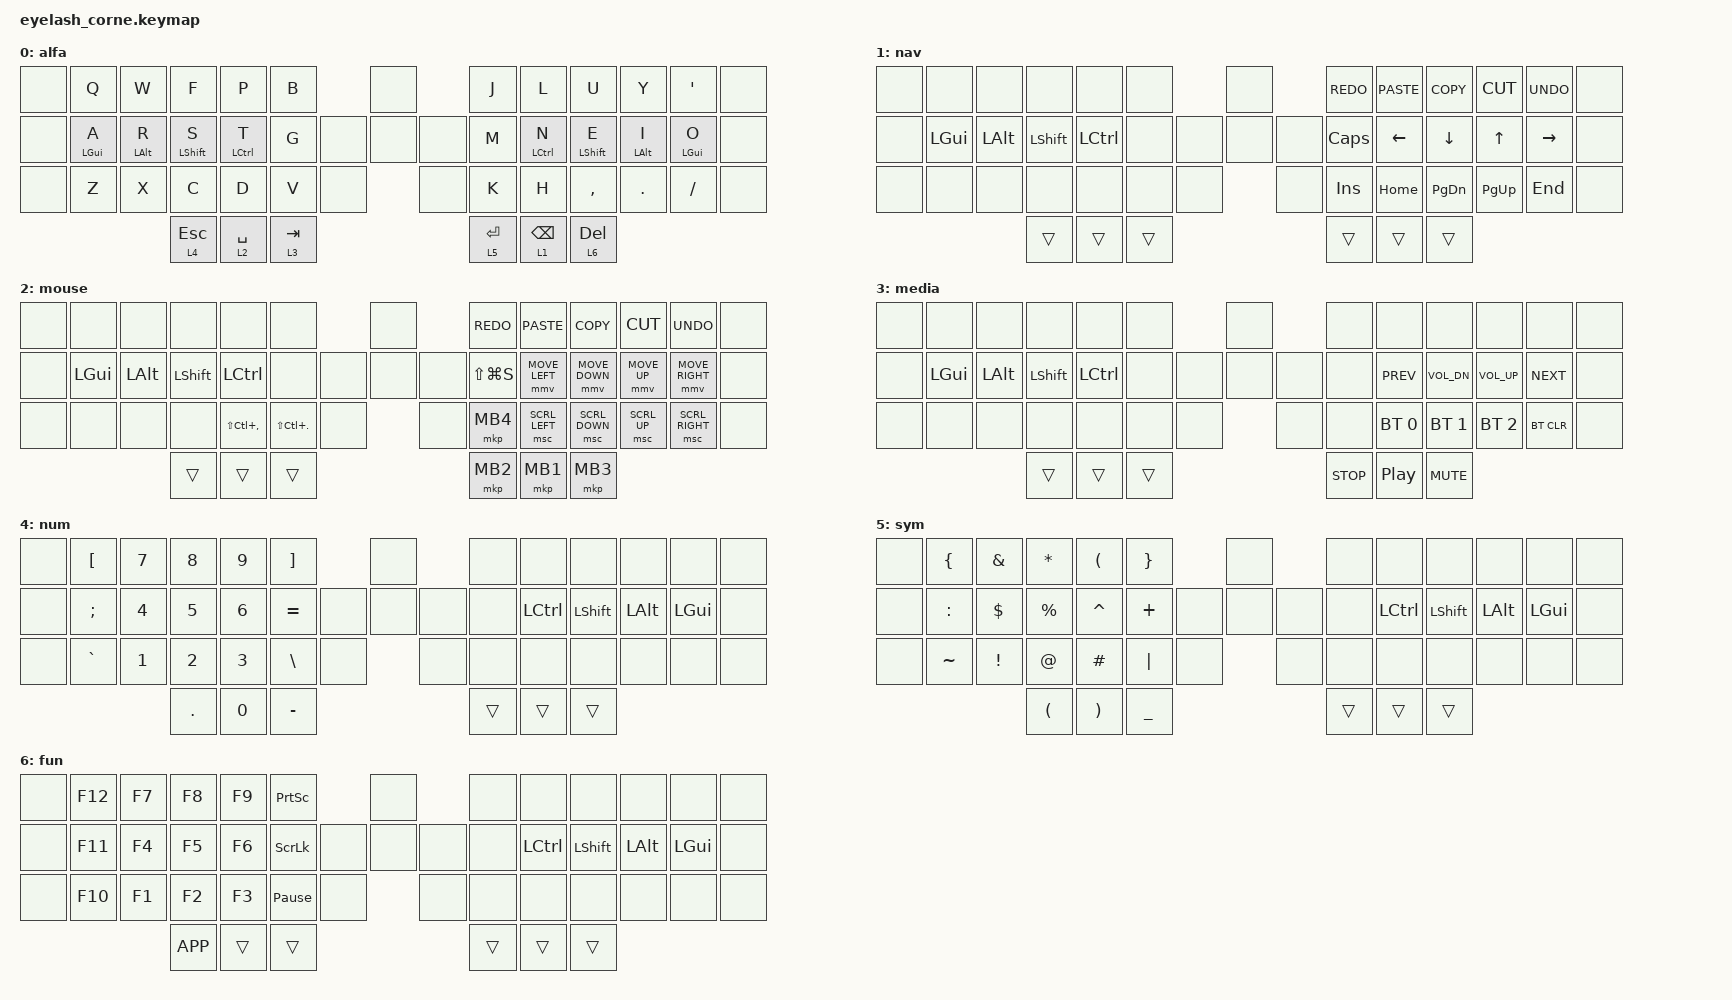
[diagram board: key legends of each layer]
/*
 * Copyright (c) 2020 The ZMK Contributors
 *
 * SPDX-License-Identifier: MIT
 */
#include <behaviors.dtsi>
#include <dt-bindings/zmk/bt.h>
#include <dt-bindings/zmk/keys.h>
#include <input/processors.dtsi>
#include <zephyr/dt-bindings/input/input-event-codes.h>
#include <dt-bindings/zmk/outputs.h>
#include <dt-bindings/zmk/pointing.h>


// mouse settings
#define ZMK_POINTING_DEFAULT_MOVE_VAL 600  // default: 600
#define ZMK_POINTING_DEFAULT_SCRL_VAL 10    // default: 10
#include <dt-bindings/zmk/pointing.h>

&mmv_input_listener { input-processors = <&zip_xy_scaler 2 1>; };

&msc_input_listener { input-processors = <&zip_scroll_scaler 2 1>; };

&msc {
    acceleration-exponent = <1>;      // 0
    time-to-max-speed-ms = <100>;       // 300
    delay-ms = <0>;                   // 0
};

&mmv {
    time-to-max-speed-ms = <500>;
    acceleration-exponent = <1>;
    trigger-period-ms = <16>;
};

&soft_off { hold-time-ms = <2000>; };

/ {
    behaviors {
        hm: homerow_mods {
            compatible = "zmk,behavior-hold-tap";
            #binding-cells = <2>;
            tapping-term-ms = <200>;
            quick-tap-ms = <0>;
            flavor = "tap-preferred";
            bindings = <&kp>, <&kp>;
        };
    };

    keymap {
        compatible = "zmk,keymap";

        // Alfa Layer - Colemak-DH with Home Row Mods
        alfa {
            display-name = "alfa";
            bindings = <
&none  &kp Q        &kp W        &kp F         &kp P            &kp B                   &none           &kp J       &kp L             &kp U         &kp Y        &kp SQT       &none
&none  &hm LGUI A   &hm LALT R   &hm LSHIFT S  &hm LCTRL T      &kp G            &none  &none  &none    &kp M       &hm LCTRL N       &hm LSHIFT E  &hm LALT I   &hm LGUI O    &none
&none  &kp Z        &kp X        &kp C         &kp D            &kp V      &none        &none           &kp K       &kp H             &kp COMMA     &kp DOT      &kp FSLH      &none
                                 &lt 4 ESC     &lt 2 SPACE      &lt 3 TAB                               &lt 5 RET   &lt 1 BSPC       &lt 6 DEL
            >;
        };

        // Navigation Layer
        nav {
            display-name = "nav";
            bindings = <
&none  &none      &none      &none        &none         &none                 &none         &kp K_REDO    &kp K_PASTE   &kp K_COPY    &kp K_CUT    &kp K_UNDO    &none
&none  &kp LGUI   &kp LALT   &kp LSHFT    &kp LCTRL     &none          &none  &none  &none  &kp CAPS      &kp LEFT      &kp DOWN      &kp UP       &kp RIGHT     &none
&none  &none      &none      &none        &none         &none    &none        &none         &kp INS       &kp HOME      &kp PG_DN     &kp PG_UP    &kp END       &none
                            &trans        &trans        &trans                              &trans        &trans        &trans
            >;
        };

        // Mouse Layer
        mouse {
            display-name = "mouse";
            bindings = <
&none  &none        &none        &none      &none               &none                         &none           &kp K_REDO    &kp K_PASTE     &kp K_COPY      &kp K_CUT    &kp K_UNDO       &none
&none  &kp LGUI     &kp LALT     &kp LSHFT  &kp LCTRL           &none                  &none  &none  &none    &kp LS(LG(S)) &mmv MOVE_LEFT  &mmv MOVE_DOWN  &mmv MOVE_UP &mmv MOVE_RIGHT  &none
&none  &none        &none        &none      &kp LS(LC(COMMA))   &kp LS(LC(DOT))   &none       &none           &mkp MB4      &msc SCRL_LEFT  &msc SCRL_DOWN  &msc SCRL_UP &msc SCRL_RIGHT  &none
                                 &trans     &trans              &trans                                        &mkp MB2      &mkp MB1        &mkp MB3
            >;
        };

        // Media Layer
        media {
            display-name = "media";
            bindings = <
&none  &none      &none       &none        &none       &none                &none         &none        &none         &none         &none        &none         &none
&none  &kp LGUI   &kp LALT    &kp LSHFT    &kp LCTRL   &none         &none  &none  &none  &none        &kp C_PREV    &kp C_VOL_DN  &kp C_VOL_UP &kp C_NEXT    &none
&none  &none      &none       &none        &none       &none   &none        &none         &none        &bt BT_SEL 0  &bt BT_SEL 1  &bt BT_SEL 2 &bt BT_CLR    &none
                              &trans       &trans      &trans                             &kp C_STOP   &kp C_PP      &kp C_MUTE
            >;
        };

        // Number Layer
        num {
            display-name = "num";
            bindings = <
&none  &kp LBKT     &kp N7       &kp N8        &kp N9           &kp RBKT                 &none          &none        &none         &none         &none        &none         &none
&none  &kp SEMI     &kp N4       &kp N5        &kp N6           &kp EQUAL         &none  &none  &none   &none        &kp LCTRL     &kp LSHIFT    &kp LALT     &kp LGUI      &none
&none  &kp GRAVE    &kp N1       &kp N2        &kp N3           &kp BSLH    &none        &none          &none        &none         &none         &none        &none         &none
                                 &kp DOT       &kp N0           &kp MINUS                               &trans        &trans        &trans
            >;
        };

        // Symbol Layer
        sym {
            display-name = "sym";
            bindings = <
&none  &kp LBRC     &kp AMPS     &kp ASTRK     &kp LPAR         &kp RBRC                 &none          &none        &none         &none         &none        &none         &none
&none  &kp COLON    &kp DLLR     &kp PRCNT     &kp CARET        &kp PLUS          &none  &none  &none   &none        &kp LCTRL     &kp LSHIFT    &kp LALT     &kp LGUI      &none
&none  &kp TILDE    &kp EXCL     &kp AT        &kp HASH         &kp PIPE    &none        &none          &none        &none         &none         &none        &none         &none
                                 &kp LPAR      &kp RPAR         &kp UNDER                               &trans        &trans        &trans
            >;
        };

        // Function Layer
        fun {
            display-name = "fun";
            bindings = <
&none  &kp F12      &kp F7       &kp F8        &kp F9           &kp PSCRN                      &none          &none     &none       &none         &none        &none      &none
&none  &kp F11      &kp F4       &kp F5        &kp F6           &kp SLCK                &none  &none  &none   &none     &kp LCTRL   &kp LSHIFT    &kp LALT     &kp LGUI   &none
&none  &kp F10      &kp F1       &kp F2        &kp F3           &kp PAUSE_BREAK   &none        &none          &none     &none       &none         &none        &none      &none
                                 &kp K_APP     &trans           &trans                                        &trans    &trans      &trans
            >;
        };
    };
};
